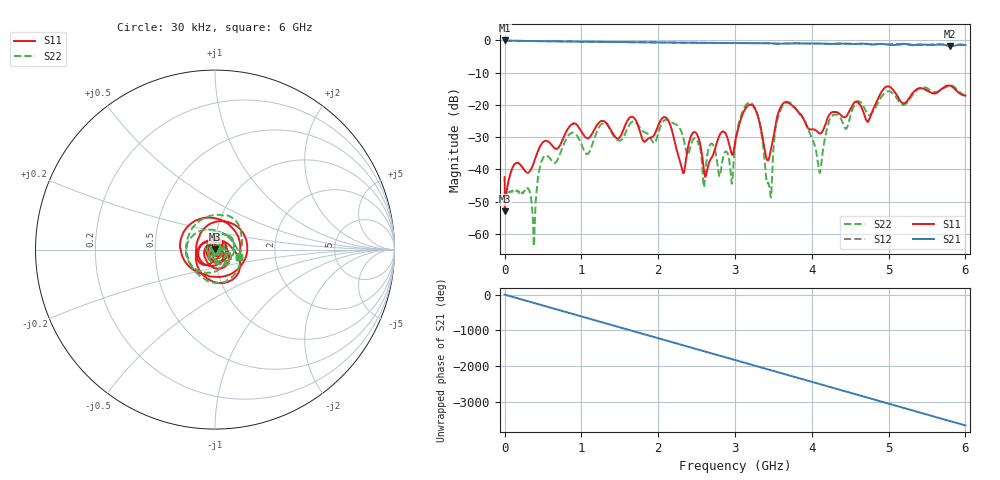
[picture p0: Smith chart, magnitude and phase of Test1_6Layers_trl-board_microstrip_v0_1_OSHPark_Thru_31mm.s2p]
! Touchstone 1.1 file saved by VNA QT V0.2.3.0
! Sun Jul 18 20:59:45 2021
! HEWLETT PACKARD,8753D,0,6.14 OPT: 002 006 010
! IF bandwidth: 3000 Hz
! Output power level: 0.000000 dBm
! Smoothing OFF
! Averaging OFF
! Correction ON
! Params: S11 S21 S12 S22
! Start frequency: 0.000030000 GHz
! Stop frequency:  6.000000000 GHz
! Points: 1601
# HZ S DB R 50
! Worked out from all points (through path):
!   1601 points, 30 kHz to 6 GHz, reference 50 ohm
!   highest |S21| = 0.00 dB at 30 kHz (marker M1); lowest = -1.8 dB at 5.801 GHz (marker M2)
!   group delay of S21, straight-line fit = 1.69 ns
!   lowest |S11| = -53.0 dB at 3.78 MHz (marker M3), VSWR 1.00, Z = 50.2 + j0.106 ohm
!   |S11| at or under -10 dB: start of sweep to end of sweep
!   |S22| runs from -63.9 to -13.8 dB; largest |S21 - S12| = 0.039
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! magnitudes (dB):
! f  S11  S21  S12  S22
! 30 kHz  -42.4  0.0  0.0  -49.7
! 3.78 MHz  -53.0  0.0  0.0  -53.2
! 300 MHz  -41.1  -0.2  -0.2  -45.9
! 378.8 MHz  -38.0  -0.2  -0.2  -63.9
! 506.3 MHz  -31.5  -0.2  -0.2  -36.3
! 1.001 GHz  -28.4  -0.4  -0.4  -32.3
! 2.003 GHz  -26.3  -0.6  -0.6  -28.6
! 2.321 GHz  -41.1  -0.7  -0.7  -29.7
! 2.471 GHz  -28.4  -0.7  -0.7  -30.3
! 2.599 GHz  -40.9  -0.8  -0.7  -45.6
! 2.685 GHz  -36.8  -0.8  -0.8  -32.1
! 2.798 GHz  -29.5  -0.8  -0.8  -42.2
! 3 GHz  -31.7  -0.8  -0.8  -32.9
! 3.184 GHz  -20.0  -0.8  -0.8  -19.3
! 3.446 GHz  -36.2  -0.9  -0.8  -45.3
! 3.638 GHz  -19.3  -1.0  -0.9  -19.7
! 4.001 GHz  -27.6  -1.0  -0.9  -30.3
! 4.106 GHz  -28.9  -1.0  -0.9  -41.1
! 4.256 GHz  -22.3  -1.1  -1.1  -23.6
! 5.003 GHz  -14.3  -1.3  -1.2  -15.7
! 5.801 GHz  -14.0  -1.8  -1.6  -14.1
! 6 GHz  -17.1  -1.4  -1.6  -17.0
